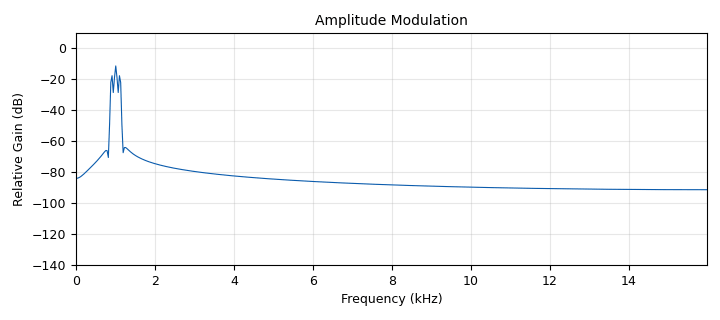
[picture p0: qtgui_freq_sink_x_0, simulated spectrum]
options:
  parameters:
    generate_options: qt_gui
    id: AmpMod
    output_language: python
    title: Amplitude Modulation
  states: {}

blocks:
- name: samp_rate
  id: variable
  parameters:
    value: '32000'
  states: {}
- name: analog_sig_source_x_0
  id: analog_sig_source_x
  parameters:
    amp: '1'
    freq: '1000'
    offset: '0'
    phase: '0'
    samp_rate: samp_rate
    type: float
    waveform: analog.GR_COS_WAVE
  states: {}
- name: analog_sig_source_x_1
  id: analog_sig_source_x
  parameters:
    amp: '1'
    freq: '100'
    offset: '1'
    phase: '0'
    samp_rate: samp_rate
    type: float
    waveform: analog.GR_COS_WAVE
  states: {}
- name: blocks_multiply_xx_0
  id: blocks_multiply_xx
  parameters:
    type: float
  states: {}
- name: blocks_throttle_0
  id: blocks_throttle
  parameters:
    samples_per_second: samp_rate
    type: float
  states: {}
- name: qtgui_freq_sink_x_0
  id: qtgui_freq_sink_x
  parameters:
    bw: samp_rate
    fc: '0'
    fftsize: '1024'
    freqhalf: 'False'
    grid: 'True'
    name: '"Amplitude Modulation"'
    type: float
    wintype: firdes.WIN_HAMMING
  states: {}

connections:
- [analog_sig_source_x_0, '0', blocks_multiply_xx_0, '0']
- [analog_sig_source_x_1, '0', blocks_multiply_xx_0, '1']
- [blocks_multiply_xx_0, '0', blocks_throttle_0, '0']
- [blocks_throttle_0, '0', qtgui_freq_sink_x_0, '0']

metadata:
  file_format: 1
